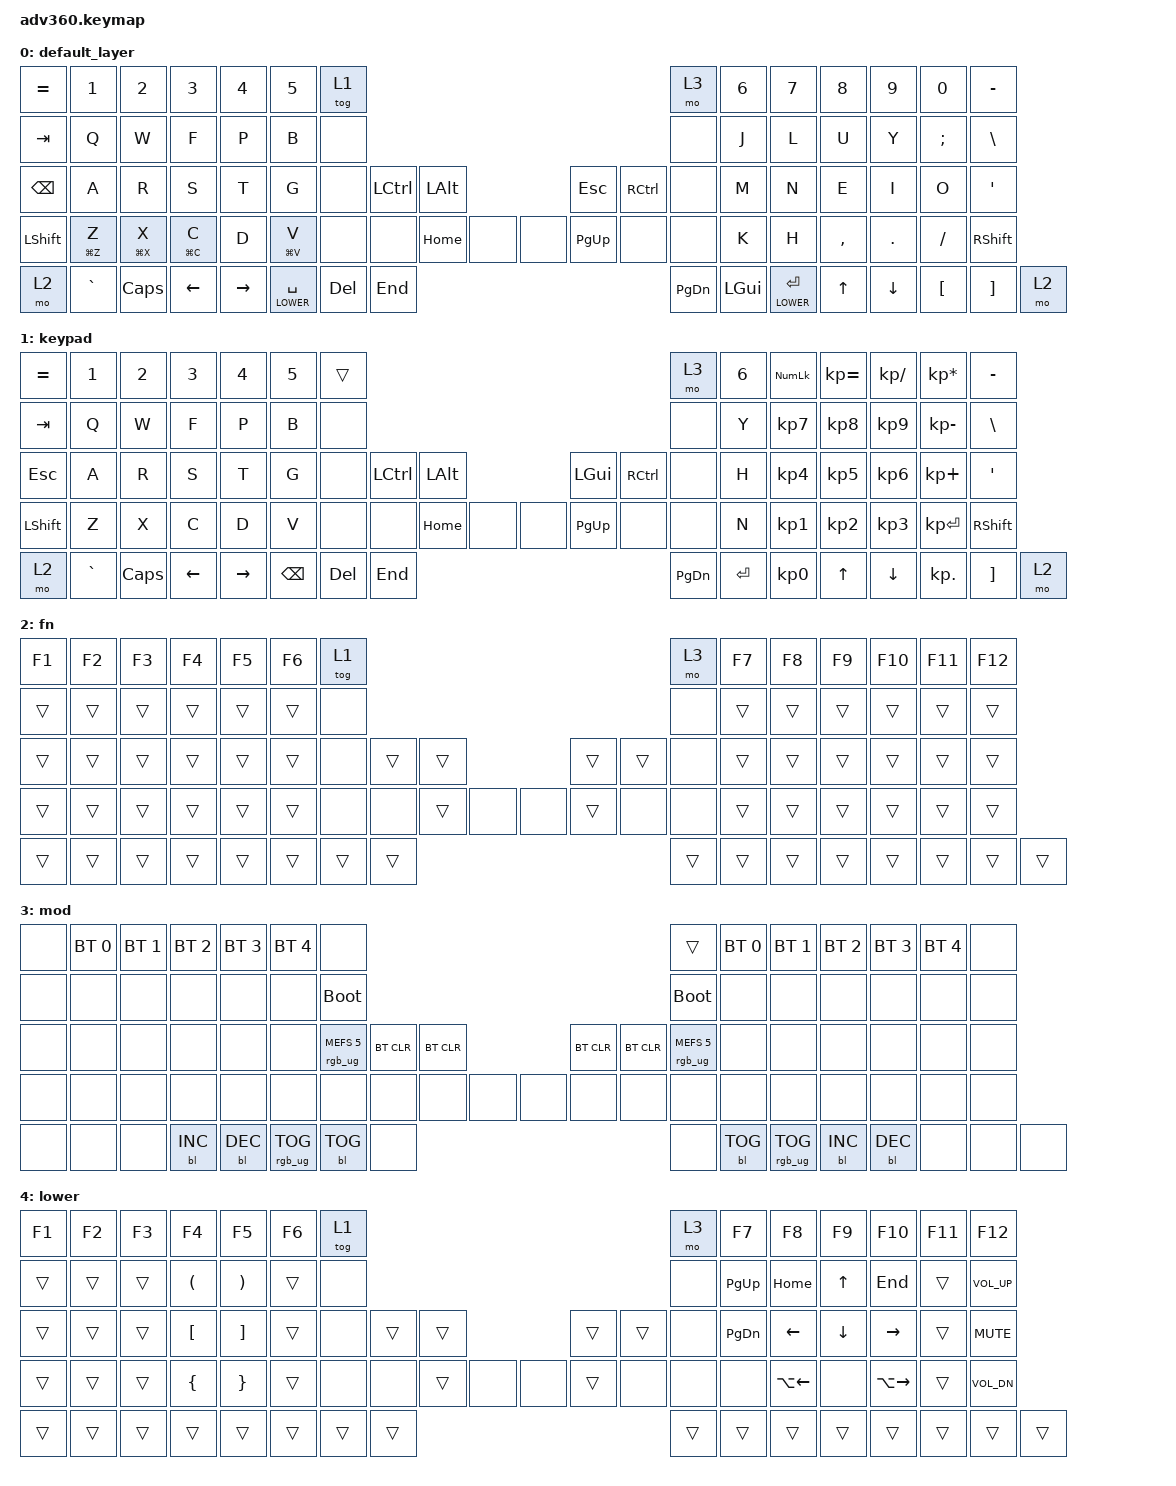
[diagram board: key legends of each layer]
#include <behaviors.dtsi>
#include <dt-bindings/zmk/keys.h>
#include <dt-bindings/zmk/bt.h>
#include <dt-bindings/zmk/rgb.h>
#include <dt-bindings/zmk/backlight.h>

#define LOWER 4
/ {
    behaviors {
      #include "macros.dtsi"

      hm: homerow_mods {
          compatible = "zmk,behavior-hold-tap";
          label = "HOMEROW_MODS";
          #binding-cells = <2>;
          tapping-term-ms = <200>;
          quick_tap_ms = <175>;
          flavor = "tap-preferred";
          bindings = <&kp>, <&kp>;
      };
    };

  keymap {
    compatible = "zmk,keymap";

    default_layer {
      bindings = <
        &kp EQUAL &kp N1         &kp N2          &kp N3         &kp N4     &kp N5 &tog 1                                                                       &mo 3 &kp N6 &kp N7 &kp N8    &kp N9   &kp N0   &kp MINUS
        &kp TAB   &kp Q          &kp W           &kp F          &kp P      &kp B  &none                                                                        &none &kp J  &kp L  &kp U     &kp Y    &kp SEMI &kp BSLH
        &kp BSPC  &kp A          &kp R           &kp S          &kp T      &kp G  &none           &kp LCTRL &kp LALT             &kp ESC  &kp RCTRL            &none &kp M  &kp N  &kp E     &kp I    &kp O    &kp SQT
        &kp LSHFT &hm LG(Z) Z    &hm LG(X) X     &hm LG(C) C    &kp D      &hm LG(V) V          &none    &none     &kp HOME &none &none &kp PG_UP &none     &none    &kp K  &kp H  &kp COMMA &kp DOT  &kp FSLH &kp RSHFT
        &mo 2     &kp GRAVE      &kp CAPS        &kp LEFT       &kp RIGHT                   &lt LOWER SPACE &kp DEL   &kp END              &kp PG_DN &kp LGUI &lt LOWER ENTER        &kp UP &kp DOWN  &kp LBKT &kp RBKT &mo 2
      >;
    };
    keypad {
      bindings = <
        &kp EQUAL &kp N1    &kp N2   &kp N3   &kp N4     &kp N5 &trans                                                                       &mo 3 &kp N6 &kp KP_NUM &kp KP_EQUAL &kp KP_DIVIDE &kp KP_MULTIPLY &kp MINUS
        &kp TAB   &kp Q     &kp W    &kp F    &kp P      &kp B  &none                                                                        &none &kp Y  &kp KP_N7  &kp KP_N8    &kp KP_N9     &kp KP_MINUS    &kp BSLH
        &kp ESC   &kp A     &kp R    &kp S    &kp T      &kp G  &none           &kp LCTRL &kp LALT             &kp LGUI  &kp RCTRL           &none &kp H  &kp KP_N4  &kp KP_N5    &kp KP_N6     &kp KP_PLUS     &kp SQT
        &kp LSHFT &kp Z     &kp X    &kp C    &kp D      &kp V         &none    &none     &kp HOME &none &none &kp PG_UP &none     &none           &kp N  &kp KP_N1  &kp KP_N2    &kp KP_N3     &kp KP_ENTER    &kp RSHFT
        &mo 2     &kp GRAVE &kp CAPS &kp LEFT &kp RIGHT                &kp BSPC &kp DEL   &kp END              &kp PG_DN &kp ENTER &kp KP_N0              &kp UP     &kp DOWN     &kp KP_DOT    &kp RBKT        &mo 2
      >;
    };
    fn {
      bindings = <
        &kp F1 &kp F2 &kp F3 &kp F4 &kp F5 &kp F6 &tog 1                                                       &mo 3 &kp F7 &kp F8 &kp F9 &kp F10 &kp F11 &kp F12
        &trans &trans &trans &trans &trans &trans  &none                                                       &none &trans &trans &trans &trans  &trans  &trans
        &trans &trans &trans &trans &trans &trans  &none        &trans &trans             &trans &trans        &none &trans &trans &trans &trans  &trans  &trans
        &trans &trans &trans &trans &trans &trans        &none  &none  &trans &none &none &trans &none  &none        &trans &trans &trans &trans  &trans  &trans
        &trans &trans &trans &trans &trans               &trans &trans &trans             &trans &trans &trans              &trans &trans &trans  &trans  &trans
      >;
    };
    mod {
      bindings = <
        &none &bt BT_SEL 0 &bt BT_SEL 1 &bt BT_SEL 2 &bt BT_SEL 3 &bt BT_SEL 4 &none                                                                                                          &trans                 &bt BT_SEL 0 &bt BT_SEL 1 &bt BT_SEL 2 &bt BT_SEL 3 &bt BT_SEL 4 &none
        &none &none        &none        &none        &none        &none        &bootloader                                                                                                    &bootloader            &none        &none        &none        &none        &none        &none
        &none &none        &none        &none        &none        &none        &rgb_ug RGB_MEFS_CMD 5                 &bt BT_CLR &bt BT_CLR             &bt BT_CLR &bt BT_CLR                 &rgb_ug RGB_MEFS_CMD 5 &none        &none        &none        &none        &none        &none
        &none &none        &none        &none        &none        &none                               &none           &none      &none      &none &none &none      &none      &none                                  &none        &none        &none        &none        &none        &none
        &none &none        &none        &bl BL_INC   &bl BL_DEC                                       &rgb_ug RGB_TOG &bl BL_TOG &none                  &none      &bl BL_TOG &rgb_ug RGB_TOG                                     &bl BL_INC   &bl BL_DEC   &none        &none        &none
      >;
    };
    lower {
      bindings = <
        &kp F1 &kp F2 &kp F3 &kp F4   &kp F5   &kp F6 &tog 1                                                      &mo 3 &kp F7     &kp F8        &kp F9    &kp F10       &kp F11 &kp F12
        &trans &trans &trans &kp LPAR &kp RPAR &trans &none                                                       &none &kp PG_UP  &kp HOME      &kp UP    &kp END       &trans  &kp C_VOL_UP  
        &trans &trans &trans &kp LBKT &kp RBKT &trans &none        &trans &trans             &trans &trans        &none &kp PG_DN  &kp LEFT      &kp DOWN  &kp RIGHT     &trans  &kp C_MUTE 
        &trans &trans &trans &kp LBRC &kp RBRC &trans       &none  &none  &trans &none &none &trans &none  &none        &none      &kp LA(LEFT)  &none     &kp LA(RIGHT) &trans  &kp C_VOL_DN
        &trans &trans &trans &trans   &trans                &trans &trans &trans             &trans &trans &trans                  &trans        &trans    &trans        &trans  &trans
      >;
  };
  };
};
